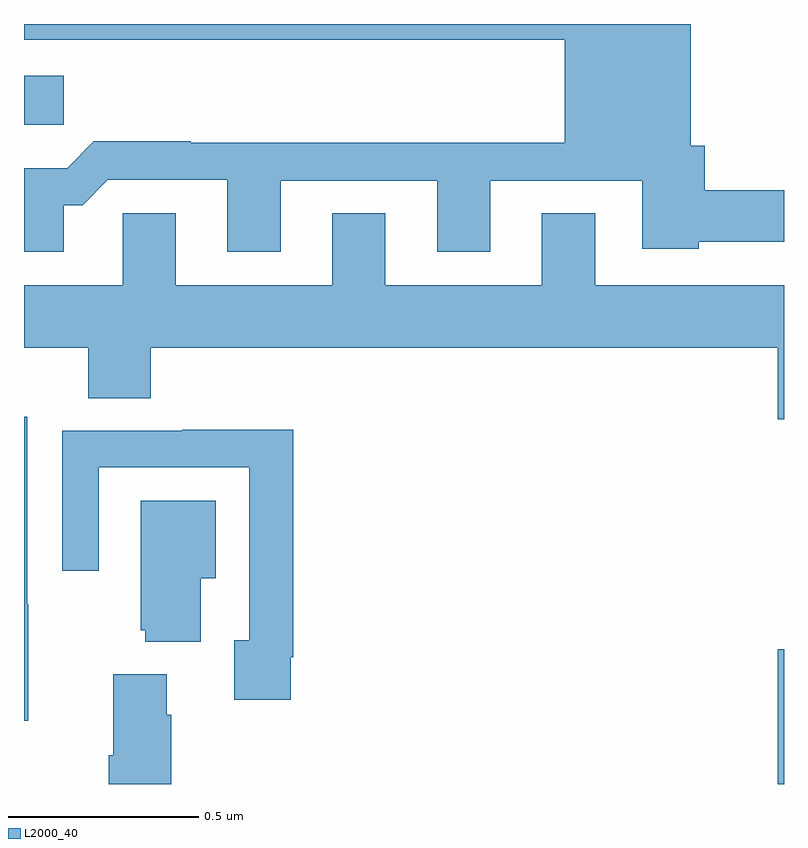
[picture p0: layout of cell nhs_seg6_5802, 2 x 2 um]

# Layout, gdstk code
import gdstk
lib = gdstk.Library(unit=1e-6, precision=1e-09)
def R(c, l, rs):  # rectangles x0, y0, x1, y1
    for r in rs: c.add(gdstk.rectangle(r[:2], r[2:], *l))
def P(c, l, *ps):  # polygons
    for p in ps: c.add(gdstk.Polygon(p, *l))
L2000_40 = (2000, 40)

nhs_seg6_5802 = lib.new_cell('nhs_seg6_5802')
R(nhs_seg6_5802, L2000_40, [(188.984,967.5,189,967.855), (187,969.235,187.105,969.364)])
P(nhs_seg6_5802, L2000_40, [(187.105,969.023),(187.154,969.023),(187.221,969.09),(187.535,969.09),(187.535,968.901),(187.675,968.901),(187.675,969.087),(188.087,969.087),(188.087,968.901),(188.227,968.901),(188.227,969.087),(188.627,969.087),(188.627,968.909),(188.775,968.909),(188.775,968.927),(189,968.927),(189,969.062),(188.792,969.062),(188.792,969.18),(188.755,969.18),(188.755,969.5),(187,969.5),(187,969.458),(188.423,969.458),(188.423,969.188),(187.439,969.188),(187.439,969.191),(187.184,969.191),(187.114,969.121),(187,969.121),(187,968.901),(187.105,968.901)],
  [(189,968.812),(188.503,968.812),(188.503,969.002),(188.363,969.002),(188.363,968.812),(187.951,968.812),(187.951,969.002),(187.811,969.002),(187.811,968.812),(187.399,968.812),(187.399,969.002),(187.26,969.002),(187.26,968.812),(187,968.812),(187,968.648),(187.169,968.648),(187.169,968.515),(187.334,968.515),(187.334,968.648),(188.984,968.648),(188.984,968.46),(189,968.46)],
  [(187.011,967.973),(187.008,967.973),(187.008,968.467),(187,968.467),(187,967.667),(187.011,967.667)],
  [(187.702,967.834),(187.709,967.834),(187.709,968.432),(187.417,968.432),(187.417,968.43),(187.101,968.43),(187.101,968.061),(187.197,968.061),(187.197,968.334),(187.593,968.334),(187.593,967.878),(187.553,967.878),(187.553,967.722),(187.702,967.722)],
  [(187.465,968.042),(187.504,968.042),(187.504,968.245),(187.307,968.245),(187.307,967.905),(187.319,967.905),(187.319,967.874),(187.465,967.874)],
  [(187.388,967.682),(187.375,967.682),(187.375,967.789),(187.235,967.789),(187.235,967.576),(187.223,967.576),(187.223,967.5),(187.388,967.5)])

lib.write_gds('nhs_seg6_5802.gds')
